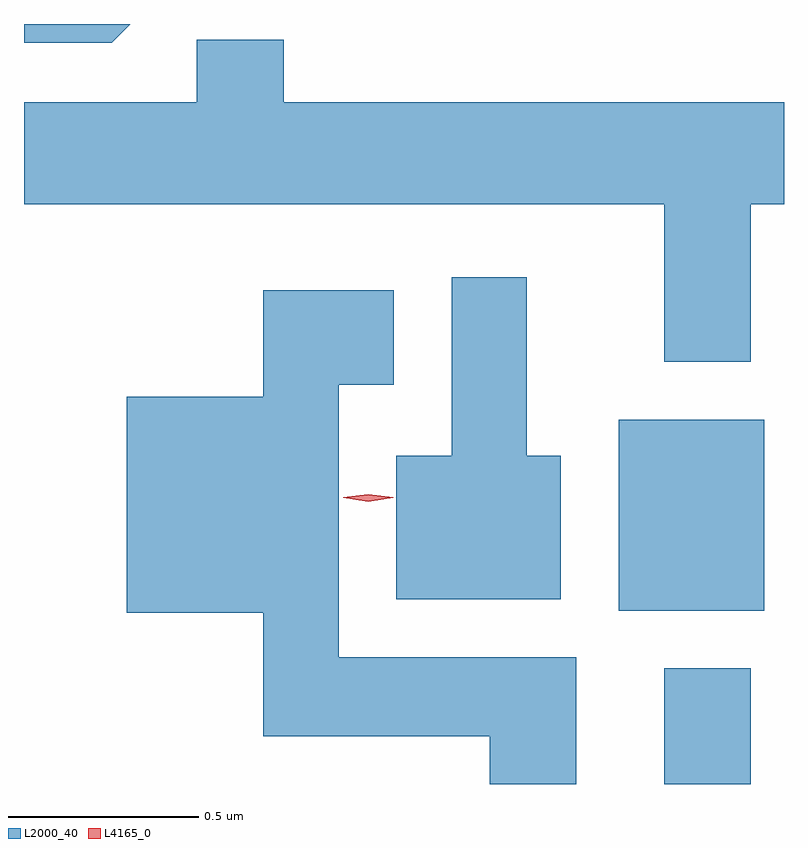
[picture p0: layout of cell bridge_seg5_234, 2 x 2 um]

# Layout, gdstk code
import gdstk
lib = gdstk.Library(unit=1e-6, precision=1e-09)
def R(c, l, rs):  # rectangles x0, y0, x1, y1
    for r in rs: c.add(gdstk.rectangle(r[:2], r[2:], *l))
def P(c, l, *ps):  # polygons
    for p in ps: c.add(gdstk.Polygon(p, *l))
L2000_40 = (2000, 40)
L4165_0 = (4165, 0)

bridge_seg5_234 = lib.new_cell('bridge_seg5_234')
R(bridge_seg5_234, L2000_40, [(1329.311,1413.09,1329.539,1413.394), (1329.191,1413.546,1329.574,1414.049)])
P(bridge_seg5_234, L2000_40, [(1327.906,1415.09),(1327.626,1415.09),(1327.626,1415.041),(1327.857,1415.041)],
  [(1329.539,1414.616),(1329.626,1414.616),(1329.626,1414.884),(1328.309,1414.884),(1328.309,1415.049),(1328.081,1415.049),(1328.081,1414.884),(1327.626,1414.884),(1327.626,1414.616),(1329.311,1414.616),(1329.311,1414.201),(1329.539,1414.201)],
  [(1329.039,1413.954),(1328.949,1413.954),(1328.949,1414.424),(1328.751,1414.424),(1328.751,1413.954),(1328.606,1413.954),(1328.606,1413.576),(1329.039,1413.576)],
  [(1329.079,1413.424),(1328.454,1413.424),(1328.454,1414.141),(1328.599,1414.141),(1328.599,1414.389),(1328.256,1414.389),(1328.256,1414.109),(1327.896,1414.109),(1327.896,1413.541),(1328.256,1413.541),(1328.256,1413.216),(1328.851,1413.216),(1328.851,1413.09),(1329.079,1413.09)])
P(bridge_seg5_234, L4165_0, [(1328.532,1413.833),(1328.466,1413.843),(1328.466,1413.843),(1328.466,1413.844),(1328.532,1413.853),(1328.598,1413.844),(1328.598,1413.843),(1328.598,1413.843)])

lib.write_gds('bridge_seg5_234.gds')
